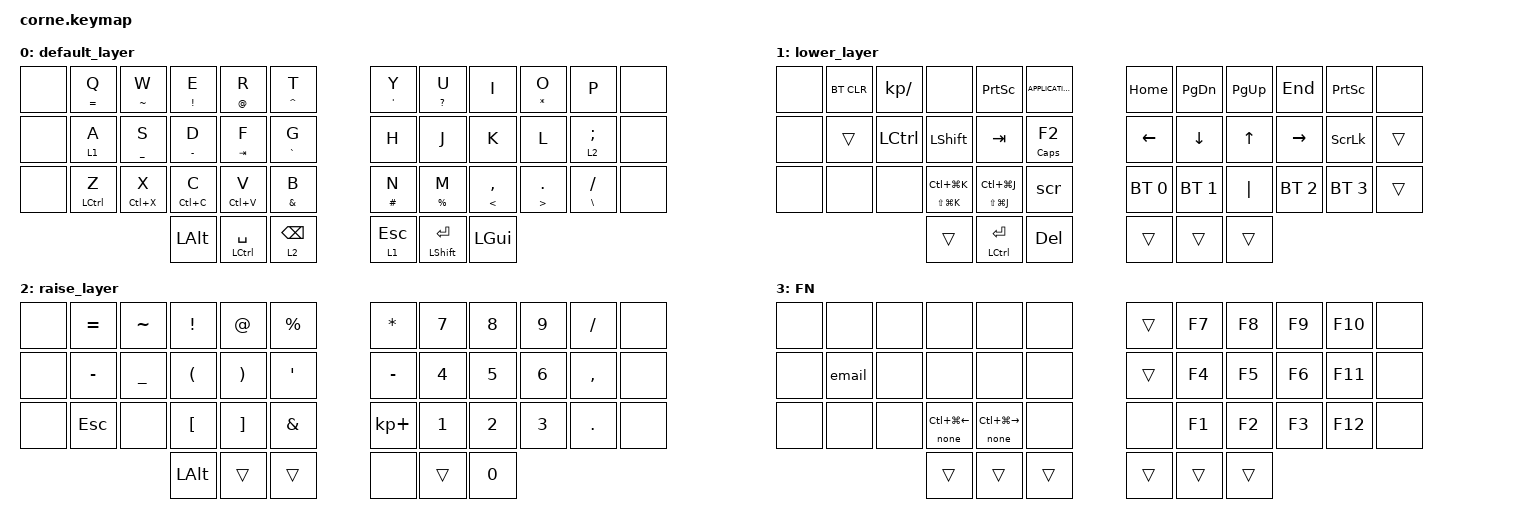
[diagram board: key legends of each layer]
/*
 * Copyright (c) 2020 The ZMK Contributors
 *
 * SPDX-License-Identifier: MIT
 */

#include <behaviors.dtsi>
#include <dt-bindings/zmk/bt.h>
#include <dt-bindings/zmk/keys.h>

/*
 * Ported from the wired RP2040 chocofi on 2026-10-12, by decoding a Vial export
 * (~/Downloads/mylayout.vil) back into key positions. Every key that does
 * something on the wired board does the same thing here, except the three
 * macros listed below.
 *
 * Three Vial text macros were deliberately NOT ported, because a ZMK keymap is
 * source code in a public git repo whereas Vial keeps macros on the keyboard
 * itself. Their contents are credentials and are recorded nowhere in this repo:
 *   - Vial M2 -> layer 1 pos 3  is now &none
 *   - Vial M4 -> layer 3 pos 14 is now &none
 *   - Vial M5 -> layer 3 pos 15 is now &none
 * Vial M3 is a plain email address and is kept, as &email.
 *
 * Bluetooth control survives ONLY on positions that are KC_NO (dead) in the Vial
 * layout, so nothing a key does on the wired board was displaced. The one real
 * casualty: layer 1 pos 32 was BT_SEL 2 and is now PIPE, so the profiles were
 * renumbered to a contiguous 0-3.
 *
 * Timing is matched to the wired board rather than tuned for ZMK. The global &mt
 * is 125 ms tap-preferred with quick-tap-ms 100, mirroring Vial QMK settings 4
 * and 10. ZMK's require-prior-idle-ms was REMOVED: it has no QMK counterpart, so
 * it made holds harder to trigger here than on the wired board. If fast typing
 * ever emits stray symbols, adding `require-prior-idle-ms = <100>;` back to &mt
 * is the fix -- but it will no longer feel like the wired board.
 *
 * Vial's layer 4 is deliberately NOT ported, at Timur's request. It held plain
 * QWERTY with every tap-dance stripped out and literal Space/Ctrl/Shift thumbs
 * -- i.e. it made the board behave like an ordinary keyboard -- but its purpose
 * is not recorded anywhere, so don't assume one. It was unreachable in any case:
 * no MO(4)/TO(4)/TG(4)/DF(4) exists anywhere in the export, only the TO(0) exit
 * inside the layer itself.
 *
 * Position map (42-key corne shield; the outer pinky columns are &none because
 * the chocofi is 3x5+3 and those keys do not physically exist):
 *    0  1  2  3  4  5  |  6  7  8  9 10 11
 *   12 13 14 15 16 17  | 18 19 20 21 22 23
 *   24 25 26 27 28 29  | 30 31 32 33 34 35
 *            36 37 38  | 39 40 41
 */

&mt {
    tapping-term-ms = <125>;    // Vial QMK setting 4
    flavor = "tap-preferred";   // matches QMK's default mod-tap resolution
    quick-tap-ms = <100>;       // Vial QMK setting 10 (QUICK_TAP_TERM)
};

/ {
    combos {
        compatible = "zmk,combos";

        // Vial: LT1(KC_ESCAPE) + LT2(KC_BSPACE) -> MO(3). Same two inner thumbs.
        Thumbs {
            bindings = <&mo 3>;
            key-positions = <38 39>;
            layers = <0>;
        };
    };

    behaviors {
        // Vial tap dances carry per-key terms. These reproduce the ones that
        // differ from the global 125 ms: TD(5)/TD(6) at 100, TD(16) at 110,
        // TD(14)/TD(15) at 120. Same flavor and quick-tap as the global &mt.
        ht100: ht100 {
            compatible = "zmk,behavior-hold-tap";
            label = "HOLD TAP 100";
            bindings = <&kp>, <&kp>;
            #binding-cells = <2>;
            tapping-term-ms = <100>;
            flavor = "tap-preferred";
            quick-tap-ms = <100>;
        };

        ht110: ht110 {
            compatible = "zmk,behavior-hold-tap";
            label = "HOLD TAP 110";
            bindings = <&kp>, <&kp>;
            #binding-cells = <2>;
            tapping-term-ms = <110>;
            flavor = "tap-preferred";
            quick-tap-ms = <100>;
        };

        ht120: ht120 {
            compatible = "zmk,behavior-hold-tap";
            label = "HOLD TAP 120";
            bindings = <&kp>, <&kp>;
            #binding-cells = <2>;
            tapping-term-ms = <120>;
            flavor = "tap-preferred";
            quick-tap-ms = <100>;
        };

        // Vial TD(29)/TD(30): tap fires the keycode, hold past 200 ms does
        // NOTHING AT ALL -- no key, no repeat. Reproduced with &none as the hold
        // binding. Invoke as `&ht200n 0 <keycode>`; the 0 goes to &none, unused.
        ht200n: ht200n {
            compatible = "zmk,behavior-hold-tap";
            label = "HOLD TAP 200 TAP ONLY";
            bindings = <&none>, <&kp>;
            #binding-cells = <2>;
            tapping-term-ms = <200>;
            flavor = "tap-preferred";
        };
    };

    macros {
        // Vial M0
        scr: scr {
            compatible = "zmk,behavior-macro";
            #binding-cells = <0>;
            bindings = <&kp SLASH &kp S &kp C &kp R>;
            label = "SCR";
        };

        // Vial M3
        email: email {
            compatible = "zmk,behavior-macro";
            #binding-cells = <0>;
            bindings = <
                &kp T &kp I &kp M &kp U &kp R &kp DOT
                &kp H &kp A &kp S &kp S &kp A &kp N
                &kp AT
                &kp G &kp M &kp A &kp I &kp L &kp DOT &kp C &kp O &kp M
            >;
            label = "EMAIL";
        };

        // Vial M1. Defined but bound nowhere, on either board.
        xl_all_borders: xl_all_borders {
            compatible = "zmk,behavior-macro";
            #binding-cells = <0>;
            bindings = <&kp LEFT_ALT &kp H &kp B &kp A>;
            label = "XL_ALL_BORDERS";
        };
    };

    keymap {
        compatible = "zmk,keymap";

        default_layer {
            // Tap on top, hold underneath.
            //        Q=   W~   E!   R@   T^   |  Y'   U?   I    O*   P
            //        A/L1 S_   D-   Ftab G`   |  H    J    K    L    ;/L2
            //        Zctl Xcut Ccpy Vpst B&   |  N#   M%   ,<   .>   /\
            //             alt  ctl/spc L2/bsp | L1/esc sft/ent gui

            bindings = <
&none  &mt EQUAL Q          &mt TILDE W     &mt EXCL E      &mt AT R                &mt CARET T        &ht100 SQT Y  &ht100 QUESTION U      &kp I                    &mt ASTERISK O              &kp P                &none
&none  &lt 1 A              &mt UNDER S     &mt MINUS D     &mt TAB F               &mt GRAVE G        &kp H         &kp J                  &kp K                    &kp L                       &lt 2 SEMICOLON      &none
&none  &mt LEFT_CONTROL Z   &ht120 LC(X) X  &ht120 LC(C) C  &ht110 LC(V) V          &mt AMPERSAND B    &mt HASH N    &mt PERCENT M          &mt LESS_THAN COMMA      &mt GREATER_THAN PERIOD     &mt BACKSLASH SLASH  &none
                                            &kp LEFT_ALT    &mt LEFT_CONTROL SPACE  &lt 2 BACKSPACE    &lt 1 ESC     &mt LEFT_SHIFT ENTER  &kp LEFT_GUI
            >;
        };

        lower_layer {
            // Navigation, window management, and the Bluetooth controls, which
            // sit only on keys that are dead in the Vial layout.
            bindings = <
&none  &bt BT_CLR  &kp KP_SLASH      &none                    &kp PRINTSCREEN          &kp K_APPLICATION    &kp HOME      &kp PAGE_DOWN  &kp PAGE_UP  &kp END       &kp PRINTSCREEN  &none
&none  &trans      &kp LEFT_CONTROL  &kp LEFT_SHIFT           &kp TAB                  &mt CAPSLOCK F2      &kp LEFT      &kp DOWN       &kp UP       &kp RIGHT     &kp SCROLLLOCK   &trans
&none  &none       &none             &mt LS(LG(K)) LC(LG(K))  &mt LS(LG(J)) LC(LG(J))  &scr                 &bt BT_SEL 0  &bt BT_SEL 1   &kp PIPE     &bt BT_SEL 2  &bt BT_SEL 3     &trans
                                     &trans                   &mt LEFT_CONTROL ENTER   &kp DEL              &trans        &trans         &trans
            >;
        };

        raise_layer {
            // Symbols on the left, numpad on the right.
            bindings = <
&none  &kp EQUAL  &kp TILDE       &kp EXCL          &kp AT             &kp PERCENT      &kp ASTERISK  &kp N7  &kp N8  &kp N9  &kp SLASH   &none
&none  &kp MINUS  &kp UNDERSCORE  &kp LPAR          &kp RPAR           &kp SQT          &kp MINUS     &kp N4  &kp N5  &kp N6  &kp COMMA   &none
&none  &kp ESC    &none           &kp LEFT_BRACKET  &kp RIGHT_BRACKET  &kp AMPERSAND    &kp KP_PLUS   &kp N1  &kp N2  &kp N3  &kp PERIOD  &none
                                  &kp LEFT_ALT      &trans             &trans           &none         &trans  &kp N0
            >;
        };

        FN {
            // Reached by the two-inner-thumb combo. Function keys plus the one
            // text macro that was safe to port.
            bindings = <
&none  &none   &none  &none             &none              &none     &trans  &kp F7  &kp F8  &kp F9  &kp F10  &none
&none  &email  &none  &none             &none              &none     &trans  &kp F4  &kp F5  &kp F6  &kp F11  &none
&none  &none   &none  &ht200n 0 LC(LG(LEFT))  &ht200n 0 LC(LG(RIGHT))  &none     &none   &kp F1  &kp F2  &kp F3  &kp F12  &none
                      &trans            &trans             &trans    &trans  &trans  &trans
            >;
        };

    };
};
